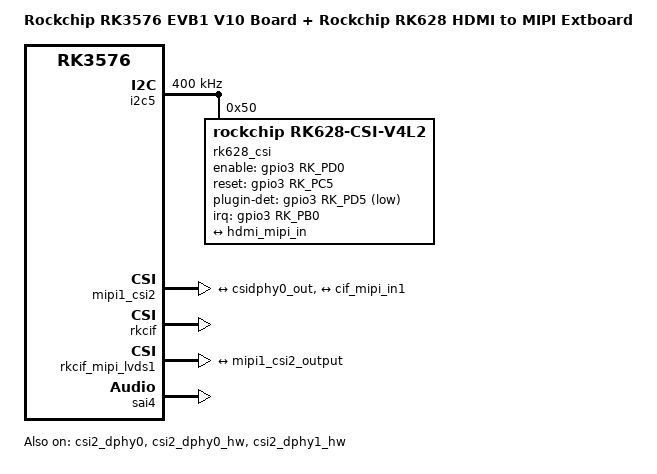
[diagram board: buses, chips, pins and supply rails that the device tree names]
// SPDX-License-Identifier: (GPL-2.0+ OR MIT)
/*
 * Copyright (c) 2024 Rockchip Electronics Co., Ltd.
 *
 */

/dts-v1/;

#include "rk3576.dtsi"
#include "rk3576-evb1.dtsi"
#include "rk3576-android.dtsi"

/ {
	model = "Rockchip RK3576 EVB1 V10 Board + Rockchip RK628 HDMI to MIPI Extboard";
	compatible = "rockchip,rk3576-evb1-v10", "rockchip,rk3576";

	rk628_dc: rk628-dc {
		compatible = "rockchip,dummy-codec";
		#sound-dai-cells = <0>;
	};

	rkvtunnel: rkvtunnel {
		compatible = "rockchip,video-tunnel";
		status = "okay";
	};

	hdmiin_sound: hdmiin-sound {
		status = "okay";
		compatible = "rockchip,hdmi";
		rockchip,mclk-fs = <128>;
		rockchip,card-name = "rockchip,rk628hdmiin";
		rockchip,cpu = <&sai4>;
		rockchip,codec = <&rk628_csi>;
		rockchip,bitclock-master = <&rk628_csi>;
		rockchip,frame-master = <&rk628_csi>;
		rockchip,jack-det;
	};
};

&csi2_dphy0 {
	status = "okay";

	ports {
		#address-cells = <1>;
		#size-cells = <0>;
		port@0 {
			reg = <0>;
			#address-cells = <1>;
			#size-cells = <0>;

			hdmi_mipi_in: endpoint@1 {
				reg = <1>;
				remote-endpoint = <&hdmiin_out>;
				data-lanes = <1 2 3 4>;
			};
		};
		port@1 {
			reg = <1>;
			#address-cells = <1>;
			#size-cells = <0>;

			csidphy0_out: endpoint@0 {
				reg = <0>;
				remote-endpoint = <&mipi1_csi2_input>;
			};
		};
	};
};

&csi2_dphy0_hw {
	status = "okay";
};

&csi2_dphy1_hw {
	status = "okay";
};

&i2c5 {
	status = "okay";
	pinctrl-0 = <&i2c5m3_xfer>;
	clock-frequency = <400000>;

	rk628_csi: rk628_csi@50 {
		reg = <0x50>;
		compatible = "rockchip,rk628-csi-v4l2";
		status = "okay";
		power-domains = <&power RK3576_PD_VI>;
		pinctrl-names = "default";
		pinctrl-0 = <&rk628_pin>;
		interrupt-parent = <&gpio3>;
		interrupts = <RK_PB0 IRQ_TYPE_LEVEL_HIGH>;
		enable-gpios = <&gpio3 RK_PD0 GPIO_ACTIVE_HIGH>;
		reset-gpios = <&gpio3 RK_PC5 GPIO_ACTIVE_HIGH>;
		plugin-det-gpios = <&gpio3 RK_PD5 GPIO_ACTIVE_LOW>;
		continues-clk = <1>;
		cec-enable;
		#sound-dai-cells = <0>;

		rockchip,camera-module-index = <0>;
		rockchip,camera-module-facing = "back";
		rockchip,camera-module-name = "HDMI-MIPI1";
		rockchip,camera-module-lens-name = "RK628-CSI";

		multi-dev-info {
			dev-idx-l = <1>;
			dev-idx-r = <3>;
			combine-idx = <1>;
			pixel-offset = <0>;
			dev-num = <2>;
		};

		port {
			hdmiin_out: endpoint {
				remote-endpoint = <&hdmi_mipi_in>;
				data-lanes = <1 2 3 4>;
			};
		};
	};
};

&mipi1_csi2 {
	status = "okay";

	ports {
		#address-cells = <1>;
		#size-cells = <0>;

		port@0 {
			reg = <0>;
			#address-cells = <1>;
			#size-cells = <0>;

			mipi1_csi2_input: endpoint@1 {
				reg = <1>;
				remote-endpoint = <&csidphy0_out>;
			};
		};

		port@1 {
			reg = <1>;
			#address-cells = <1>;
			#size-cells = <0>;

			mipi1_csi2_output: endpoint@0 {
				reg = <0>;
				remote-endpoint = <&cif_mipi_in1>;
			};
		};
	};
};

&rkcif {
	status = "okay";
};

&rkcif_mipi_lvds1 {
	status = "okay";

	port {
		cif_mipi_in1: endpoint {
			remote-endpoint = <&mipi1_csi2_output>;
		};
	};
};

&rkcif_mmu {
	status = "okay";
};

&sai4 {
	dmas = <&dmac2 1>;
	dma-names = "rx";
	 pinctrl-0 = <&sai4m2_lrck
		      &sai4m2_sclk
		      &sai4m2_sdi>;
	rockchip,sai-rx-wait-time-ms = <50>;
	status = "okay";
};

&vcc_mipicsi0 {
	/delete-property/ gpio;
	/delete-property/ pinctrl-0;
};

&vcc_mipicsi1 {
	/delete-property/ gpio;
	/delete-property/ pinctrl-0;
};

&pinctrl {
	hdmiin {
		rk628_pin: rk628-pin {
			rockchip,pins = <3 RK_PB0 RK_FUNC_GPIO &pcfg_pull_none>,
					<3 RK_PC0 RK_FUNC_GPIO &pcfg_pull_none>,
					<3 RK_PD0 RK_FUNC_GPIO &pcfg_pull_none>,
					<3 RK_PD5 RK_FUNC_GPIO &pcfg_pull_none>;
		};
	};
};
